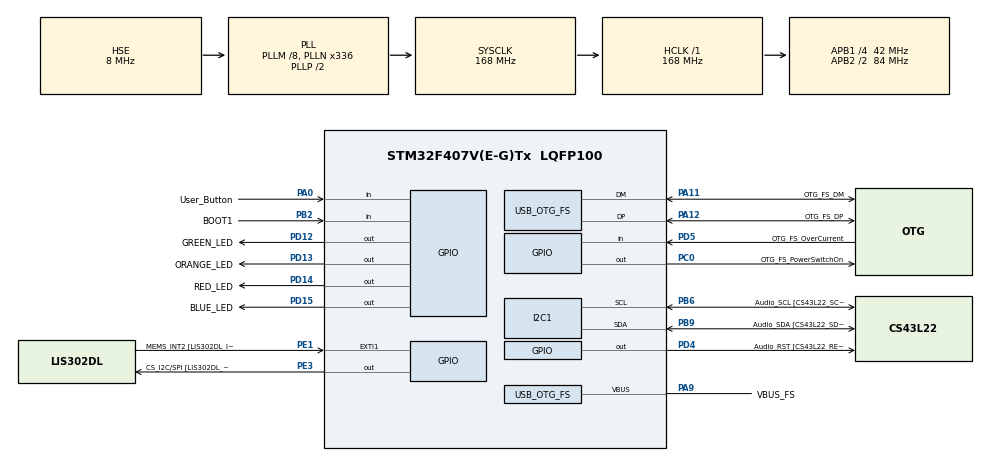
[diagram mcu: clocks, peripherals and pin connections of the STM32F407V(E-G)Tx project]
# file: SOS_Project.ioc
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Mcu.Family=STM32F4
Mcu.Name=STM32F407V(E-G)Tx
Mcu.Package=LQFP100
NVIC.OTG_FS_IRQn=true\:0\:0\:false\:false\:true\:true\:true\:true
NVIC.PriorityGroup=NVIC_PRIORITYGROUP_0
PA0-WKUP.GPIO_Label=User_Button
PA0-WKUP.GPIO_PuPd=GPIO_PULLDOWN
PA0-WKUP.Signal=GPIO_Input
PA10.GPIO_Label=OTG_FS_ID
PA10.GPIO_Mode=GPIO_MODE_AF_PP
PA10.GPIO_PuPd=GPIO_NOPULL
PA10.GPIO_Speed=GPIO_SPEED_FREQ_LOW
PA10.Signal=USB_OTG_FS_ID
PA11.GPIO_Label=OTG_FS_DM
PA11.GPIO_Mode=GPIO_MODE_AF_PP
PA11.GPIO_PuPd=GPIO_NOPULL
PA11.GPIO_Speed=GPIO_SPEED_FREQ_LOW
PA11.Mode=Host_Only
PA11.Signal=USB_OTG_FS_DM
PA12.GPIO_Label=OTG_FS_DP
PA12.GPIO_Mode=GPIO_MODE_AF_PP
PA12.GPIO_PuPd=GPIO_NOPULL
PA12.GPIO_Speed=GPIO_SPEED_FREQ_LOW
PA12.Mode=Host_Only
PA12.Signal=USB_OTG_FS_DP
PA13.GPIO_Label=SWDIO
PA13.Mode=Serial_Wire
PA13.Signal=SYS_JTMS-SWDIO
PA14.GPIO_Label=SWCLK
PA14.Mode=Serial_Wire
PA14.Signal=SYS_JTCK-SWCLK
PA9.GPIO_Label=VBUS_FS
PA9.GPIO_Mode=GPIO_MODE_INPUT
PA9.GPIO_PuPd=GPIO_NOPULL
PA9.Mode=Activate_VBUS
PA9.Signal=USB_OTG_FS_VBUS
PB10.GPIO_Label=CLK_IN [MP45DT02_CLK]
PB10.GPIO_Mode=GPIO_MODE_AF_PP
PB10.GPIO_PuPd=GPIO_NOPULL
PB10.GPIO_Speed=GPIO_SPEED_FREQ_LOW
PB10.Signal=I2S2_CK
PB2.GPIO_Label=BOOT1
PB2.GPIO_Mode=GPIO_MODE_INPUT
PB2.GPIO_PuPd=GPIO_NOPULL
PB2.Signal=GPIO_Input
PB3.GPIO_Label=SWO
PB3.Signal=SYS_JTDO-SWO
PB6.GPIO_Label=Audio_SCL [CS43L22_SCL]
PB6.GPIO_Mode=GPIO_MODE_AF_OD
PB6.GPIO_Pu=GPIO_PULLUP
PB6.GPIO_PuPd=GPIO_NOPULL
PB6.GPIO_Speed=GPIO_SPEED_FREQ_LOW
PB6.Mode=I2C
PB6.Signal=I2C1_SCL
PB9.GPIO_Label=Audio_SDA [CS43L22_SDA]
PB9.GPIO_Mode=GPIO_MODE_AF_OD
PB9.GPIO_Pu=GPIO_PULLUP
PB9.GPIO_PuPd=GPIO_NOPULL
PB9.GPIO_Speed=GPIO_SPEED_FREQ_LOW
PB9.Mode=I2C
PB9.Signal=I2C1_SDA
PC0.GPIO_Label=OTG_FS_PowerSwitchOn
PC0.GPIO_PuPd=GPIO_NOPULL
PC0.GPIO_Speed=GPIO_SPEED_FREQ_LOW
PC0.PinState=GPIO_PIN_SET
PC0.Signal=GPIO_Output
PC10.GPIO_Label=I2S3_SCK [CS43L22_SCLK]
PC10.GPIO_Mode=GPIO_MODE_AF_PP
PC10.GPIO_PuPd=GPIO_NOPULL
PC10.GPIO_Speed=GPIO_SPEED_FREQ_LOW
PC10.Signal=I2S3_CK
PC12.GPIO_Label=I2S3_SD [CS43L22_SDIN]
PC12.GPIO_Mode=GPIO_MODE_AF_PP
PC12.GPIO_PuPd=GPIO_NOPULL
PC12.GPIO_Speed=GPIO_SPEED_FREQ_LOW
PC12.Signal=I2S3_SD
PC14-OSC32_IN.GPIO_Label=PC14-OSC32_IN
PC14-OSC32_IN.Mode=LSE-External-Oscillator
PC14-OSC32_IN.Signal=RCC_OSC32_IN
PC15-OSC32_OUT.GPIO_Label=PC15-OSC32_OUT
PC15-OSC32_OUT.Mode=LSE-External-Oscillator
PC15-OSC32_OUT.Signal=RCC_OSC32_OUT
PC3.GPIO_Label=PDM_OUT [MP45DT02_DOUT]
PC3.GPIO_Mode=GPIO_MODE_AF_PP
PC3.GPIO_PuPd=GPIO_NOPULL
PC3.GPIO_Speed=GPIO_SPEED_FREQ_LOW
PC3.Signal=I2S2_SD
PC7.GPIO_Label=I2S3_MCK [CS43L22_MCLK]
PC7.GPIO_Mode=GPIO_MODE_AF_PP
PC7.GPIO_PuPd=GPIO_NOPULL
PC7.GPIO_Speed=GPIO_SPEED_FREQ_LOW
PC7.Signal=I2S3_MCK
PD12.GPIO_Label=GREEN_LED
PD12.GPIO_PuPd=GPIO_NOPULL
PD12.GPIO_Speed=GPIO_SPEED_FREQ_LOW
PD12.Signal=GPIO_Output
PD13.GPIO_Label=ORANGE_LED
PD13.GPIO_PuPd=GPIO_NOPULL
PD13.GPIO_Speed=GPIO_SPEED_FREQ_LOW
PD13.Signal=GPIO_Output
PD14.GPIO_Label=RED_LED
PD14.GPIO_PuPd=GPIO_NOPULL
PD14.GPIO_Speed=GPIO_SPEED_FREQ_LOW
PD14.Signal=GPIO_Output
PD15.GPIO_Label=BLUE_LED
PD15.GPIO_PuPd=GPIO_NOPULL
PD15.GPIO_Speed=GPIO_SPEED_FREQ_LOW
PD15.Signal=GPIO_Output
PD4.GPIO_Label=Audio_RST [CS43L22_RESET]
PD4.GPIO_PuPd=GPIO_NOPULL
PD4.GPIO_Speed=GPIO_SPEED_FREQ_LOW
PD4.Signal=GPIO_Output
PD5.GPIO_Label=OTG_FS_OverCurrent
PD5.GPIO_Mode=GPIO_MODE_INPUT
PD5.GPIO_PuPd=GPIO_NOPULL
PD5.Signal=GPIO_Input
PE1.GPIO_Label=MEMS_INT2 [LIS302DL_INT2]
PE1.GPIO_ModeDefaultEXTI=GPIO_MODE_EVT_RISING
PE1.GPIO_PuPd=GPIO_NOPULL
PE1.Signal=GPXTI1
PE3.GPIO_Label=CS_I2C/SPI [LIS302DL_CS_I2C/SPI]
PE3.GPIO_PuPd=GPIO_NOPULL
PE3.GPIO_Speed=GPIO_SPEED_FREQ_LOW
PE3.Signal=GPIO_Output
PH0-OSC_IN.GPIO_Label=PH0-OSC_IN
PH0-OSC_IN.Mode=HSE-External-Oscillator
PH0-OSC_IN.Signal=RCC_OSC_IN
PH1-OSC_OUT.GPIO_Label=PH1-OSC_OUT
PH1-OSC_OUT.Mode=HSE-External-Oscillator
PH1-OSC_OUT.Signal=RCC_OSC_OUT
ProjectManager.HeapSize=0x200
ProjectManager.StackSize=0x400
ProjectManager.TargetToolchain=STM32CubeIDE
RCC.48MHZClocksFreq_Value=48000000
RCC.AHBFreq_Value=168000000
RCC.APB1CLKDivider=RCC_HCLK_DIV4
RCC.APB1Freq_Value=42000000
RCC.APB1TimFreq_Value=84000000
RCC.APB2CLKDivider=RCC_HCLK_DIV2
RCC.APB2Freq_Value=84000000
RCC.APB2TimFreq_Value=168000000
RCC.CortexFreq_Value=168000000
RCC.HCLKFreq_Value=168000000
RCC.HSE_VALUE=8000000
RCC.HSI_VALUE=16000000
RCC.PLLM=8
RCC.PLLN=336
RCC.PLLQ=7
RCC.SYSCLKFreq_VALUE=168000000
RCC.SYSCLKSource=RCC_SYSCLKSOURCE_PLLCLK
RCC.VCOOutputFreq_Value=336000000
USB_HOST.BSP.number=1
USB_HOST.USBH_HandleTypeDef-CDC_FS=hUsbHostFS
USB_HOST.VirtualModeFS=Cdc
USB_HOST0.BSP.STBoard=false
USB_HOST0.BSP.api=Unknown
USB_HOST0.BSP.instance=PC0
USB_HOST0.BSP.ip=GPIO
USB_HOST0.BSP.mode=Output
USB_HOST0.BSP.name=Drive_VBUS_FS
USB_HOST0.BSP.solution=PC0
USB_OTG_FS.VirtualMode=Host_Only
USB_OTG_FS.phy_itface=HCD_PHY_EMBEDDED
VP_USB_HOST_VS_USB_HOST_CDC_FS.Mode=CDC_FS
board=STM32F407G-DISC1

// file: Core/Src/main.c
/* USER CODE BEGIN Header */
/**
  ******************************************************************************
  * @author			: Batuhan ARSLAN
  * @file           : main.c
  * @brief          : Basic blink application.
  ******************************************************************************
  * @attention
  *
  * Copyright (c) 2022 STMicroelectronics.
  * All rights reserved.
  *
  * This software is licensed under terms that can be found in the LICENSE file
  * in the root directory of this software component.
  * If no LICENSE file comes with this software, it is provided AS-IS.
  *
  ******************************************************************************
  */
/* USER CODE END Header */
#include "main.h"
#include "usb_host.h"

/* USER CODE BEGIN PD */
#define LONG 600
#define SHORT 300
#define DELAY 400
/* USER CODE END PD */

I2C_HandleTypeDef hi2c1;

void SystemClock_Config(void);
static void MX_GPIO_Init(void);
static void MX_I2C1_Init(void);
void MX_USB_HOST_Process(void);
void NEXT_LETTER(void);
void RETURN_BEGINNING(void);

int main(void)
{

  /* MCU Configuration--------------------------------------------------------*/

  /* Reset of all peripherals, Initializes the Flash interface and the Systick. */
  HAL_Init();

  /* Configure the system clock */
  SystemClock_Config();

  /* Initialize all configured peripherals */
  MX_GPIO_Init();
  MX_I2C1_Init();
  MX_USB_HOST_Init();

  /* Infinite loop */
  while (1)
  {
    MX_USB_HOST_Process();

    /* USER CODE BEGIN 3 */

    RETURN_BEGINNING();

	// Letter : B
	HAL_GPIO_WritePin(GREEN_LED_GPIO_Port, GREEN_LED_Pin, GPIO_PIN_SET);
	HAL_Delay(LONG);
	HAL_GPIO_WritePin(GREEN_LED_GPIO_Port, GREEN_LED_Pin, GPIO_PIN_RESET);
	HAL_Delay(DELAY);
	HAL_GPIO_WritePin(GREEN_LED_GPIO_Port, GREEN_LED_Pin, GPIO_PIN_SET);
	HAL_Delay(SHORT);
	HAL_GPIO_WritePin(GREEN_LED_GPIO_Port, GREEN_LED_Pin, GPIO_PIN_RESET);
	HAL_Delay(DELAY);
	HAL_GPIO_WritePin(GREEN_LED_GPIO_Port, GREEN_LED_Pin, GPIO_PIN_SET);
	HAL_Delay(SHORT);
	HAL_GPIO_WritePin(GREEN_LED_GPIO_Port, GREEN_LED_Pin, GPIO_PIN_RESET);
	HAL_Delay(DELAY);
	HAL_GPIO_WritePin(GREEN_LED_GPIO_Port, GREEN_LED_Pin, GPIO_PIN_SET);
	HAL_Delay(SHORT);
	HAL_GPIO_WritePin(GREEN_LED_GPIO_Port, GREEN_LED_Pin, GPIO_PIN_RESET);
	HAL_Delay(DELAY);

	NEXT_LETTER();

	// Letter : A
	HAL_GPIO_WritePin(GREEN_LED_GPIO_Port, GREEN_LED_Pin, GPIO_PIN_SET);
	HAL_Delay(SHORT);
	HAL_GPIO_WritePin(GREEN_LED_GPIO_Port, GREEN_LED_Pin, GPIO_PIN_RESET);
	HAL_Delay(DELAY);
	HAL_GPIO_WritePin(GREEN_LED_GPIO_Port, GREEN_LED_Pin, GPIO_PIN_SET);
	HAL_Delay(LONG);
	HAL_GPIO_WritePin(GREEN_LED_GPIO_Port, GREEN_LED_Pin, GPIO_PIN_RESET);
	HAL_Delay(DELAY);

	NEXT_LETTER();

	// Letter : T
	HAL_GPIO_WritePin(GREEN_LED_GPIO_Port, GREEN_LED_Pin, GPIO_PIN_SET);
	HAL_Delay(LONG);
	HAL_GPIO_WritePin(GREEN_LED_GPIO_Port, GREEN_LED_Pin, GPIO_PIN_RESET);
	HAL_Delay(DELAY);

	NEXT_LETTER();

	// Letter : U
	HAL_GPIO_WritePin(GREEN_LED_GPIO_Port, GREEN_LED_Pin, GPIO_PIN_SET);
	HAL_Delay(SHORT);
	HAL_GPIO_WritePin(GREEN_LED_GPIO_Port, GREEN_LED_Pin, GPIO_PIN_RESET);
	HAL_Delay(DELAY);
	HAL_GPIO_WritePin(GREEN_LED_GPIO_Port, GREEN_LED_Pin, GPIO_PIN_SET);
	HAL_Delay(SHORT);
	HAL_GPIO_WritePin(GREEN_LED_GPIO_Port, GREEN_LED_Pin, GPIO_PIN_RESET);
	HAL_Delay(DELAY);
	HAL_GPIO_WritePin(GREEN_LED_GPIO_Port, GREEN_LED_Pin, GPIO_PIN_SET);
	HAL_Delay(LONG);
	HAL_GPIO_WritePin(GREEN_LED_GPIO_Port, GREEN_LED_Pin, GPIO_PIN_RESET);
	HAL_Delay(DELAY);

	NEXT_LETTER();

	// Letter : H
	HAL_GPIO_WritePin(GREEN_LED_GPIO_Port, GREEN_LED_Pin, GPIO_PIN_SET);
	HAL_Delay(SHORT);
	HAL_GPIO_WritePin(GREEN_LED_GPIO_Port, GREEN_LED_Pin, GPIO_PIN_RESET);
	HAL_Delay(DELAY);
	HAL_GPIO_WritePin(GREEN_LED_GPIO_Port, GREEN_LED_Pin, GPIO_PIN_SET);
	HAL_Delay(SHORT);
	HAL_GPIO_WritePin(GREEN_LED_GPIO_Port, GREEN_LED_Pin, GPIO_PIN_RESET);
	HAL_Delay(DELAY);
	HAL_GPIO_WritePin(GREEN_LED_GPIO_Port, GREEN_LED_Pin, GPIO_PIN_SET);
	HAL_Delay(SHORT);
	HAL_GPIO_WritePin(GREEN_LED_GPIO_Port, GREEN_LED_Pin, GPIO_PIN_RESET);
	HAL_Delay(DELAY);
	HAL_GPIO_WritePin(GREEN_LED_GPIO_Port, GREEN_LED_Pin, GPIO_PIN_SET);
	HAL_Delay(SHORT);
	HAL_GPIO_WritePin(GREEN_LED_GPIO_Port, GREEN_LED_Pin, GPIO_PIN_RESET);
	HAL_Delay(DELAY);

	NEXT_LETTER();

	// Letter : A
	HAL_GPIO_WritePin(GREEN_LED_GPIO_Port, GREEN_LED_Pin, GPIO_PIN_SET);
	HAL_Delay(SHORT);
	HAL_GPIO_WritePin(GREEN_LED_GPIO_Port, GREEN_LED_Pin, GPIO_PIN_RESET);
	HAL_Delay(DELAY);
	HAL_GPIO_WritePin(GREEN_LED_GPIO_Port, GREEN_LED_Pin, GPIO_PIN_SET);
	HAL_Delay(LONG);
	HAL_GPIO_WritePin(GREEN_LED_GPIO_Port, GREEN_LED_Pin, GPIO_PIN_RESET);
	HAL_Delay(DELAY);

	NEXT_LETTER();

	// Letter : N
	HAL_GPIO_WritePin(GREEN_LED_GPIO_Port, GREEN_LED_Pin, GPIO_PIN_SET);
	HAL_Delay(LONG);
	HAL_GPIO_WritePin(GREEN_LED_GPIO_Port, GREEN_LED_Pin, GPIO_PIN_RESET);
	HAL_Delay(DELAY);
	HAL_GPIO_WritePin(GREEN_LED_GPIO_Port, GREEN_LED_Pin, GPIO_PIN_SET);
	HAL_Delay(SHORT);
	HAL_GPIO_WritePin(GREEN_LED_GPIO_Port, GREEN_LED_Pin, GPIO_PIN_RESET);
	HAL_Delay(DELAY);

	NEXT_LETTER();

  }
  /* USER CODE END 3 */
}

void SystemClock_Config(void)
{
  RCC_OscInitTypeDef RCC_OscInitStruct = {0};
  RCC_ClkInitTypeDef RCC_ClkInitStruct = {0};

  /** Configure the main internal regulator output voltage
  */
  __HAL_RCC_PWR_CLK_ENABLE();
  __HAL_PWR_VOLTAGESCALING_CONFIG(PWR_REGULATOR_VOLTAGE_SCALE1);

  /** Initializes the RCC Oscillators according to the specified parameters
  * in the RCC_OscInitTypeDef structure.
  */
  RCC_OscInitStruct.OscillatorType = RCC_OSCILLATORTYPE_HSE;
  RCC_OscInitStruct.HSEState = RCC_HSE_ON;
  RCC_OscInitStruct.PLL.PLLState = RCC_PLL_ON;
  RCC_OscInitStruct.PLL.PLLSource = RCC_PLLSOURCE_HSE;
  RCC_OscInitStruct.PLL.PLLM = 8;
  RCC_OscInitStruct.PLL.PLLN = 336;
  RCC_OscInitStruct.PLL.PLLP = RCC_PLLP_DIV2;
  RCC_OscInitStruct.PLL.PLLQ = 7;
  if (HAL_RCC_OscConfig(&RCC_OscInitStruct) != HAL_OK)
  {
    Error_Handler();
  }

  /** Initializes the CPU, AHB and APB buses clocks
  */
  RCC_ClkInitStruct.ClockType = RCC_CLOCKTYPE_HCLK|RCC_CLOCKTYPE_SYSCLK
                              |RCC_CLOCKTYPE_PCLK1|RCC_CLOCKTYPE_PCLK2;
  RCC_ClkInitStruct.SYSCLKSource = RCC_SYSCLKSOURCE_PLLCLK;
  RCC_ClkInitStruct.AHBCLKDivider = RCC_SYSCLK_DIV1;
  RCC_ClkInitStruct.APB1CLKDivider = RCC_HCLK_DIV4;
  RCC_ClkInitStruct.APB2CLKDivider = RCC_HCLK_DIV2;

  if (HAL_RCC_ClockConfig(&RCC_ClkInitStruct, FLASH_LATENCY_5) != HAL_OK)
  {
    Error_Handler();
  }
}

static void MX_I2C1_Init(void)
{

  hi2c1.Instance = I2C1;
  hi2c1.Init.ClockSpeed = 100000;
  hi2c1.Init.DutyCycle = I2C_DUTYCYCLE_2;
  hi2c1.Init.OwnAddress1 = 0;
  hi2c1.Init.AddressingMode = I2C_ADDRESSINGMODE_7BIT;
  hi2c1.Init.DualAddressMode = I2C_DUALADDRESS_DISABLE;
  hi2c1.Init.OwnAddress2 = 0;
  hi2c1.Init.GeneralCallMode = I2C_GENERALCALL_DISABLE;
  hi2c1.Init.NoStretchMode = I2C_NOSTRETCH_DISABLE;
  if (HAL_I2C_Init(&hi2c1) != HAL_OK)
  {
    Error_Handler();
  }

}

static void MX_GPIO_Init(void)
{
  GPIO_InitTypeDef GPIO_InitStruct = {0};

  /* GPIO Ports Clock Enable */
  __HAL_RCC_GPIOE_CLK_ENABLE();
  __HAL_RCC_GPIOC_CLK_ENABLE();
  __HAL_RCC_GPIOH_CLK_ENABLE();
  __HAL_RCC_GPIOA_CLK_ENABLE();
  __HAL_RCC_GPIOB_CLK_ENABLE();
  __HAL_RCC_GPIOD_CLK_ENABLE();

  /*Configure GPIO pin Output Level */
  HAL_GPIO_WritePin(CS_I2C_SPI_GPIO_Port, CS_I2C_SPI_Pin, GPIO_PIN_RESET);

  /*Configure GPIO pin Output Level */
  HAL_GPIO_WritePin(OTG_FS_PowerSwitchOn_GPIO_Port, OTG_FS_PowerSwitchOn_Pin, GPIO_PIN_SET);

  /*Configure GPIO pin Output Level */
  HAL_GPIO_WritePin(GPIOD, GREEN_LED_Pin|ORANGE_LED_Pin|RED_LED_Pin|BLUE_LED_Pin
                          |Audio_RST_Pin, GPIO_PIN_RESET);

  /*Configure GPIO pin : CS_I2C_SPI_Pin */
  GPIO_InitStruct.Pin = CS_I2C_SPI_Pin;
  GPIO_InitStruct.Mode = GPIO_MODE_OUTPUT_PP;
  GPIO_InitStruct.Pull = GPIO_NOPULL;
  GPIO_InitStruct.Speed = GPIO_SPEED_FREQ_LOW;
  HAL_GPIO_Init(CS_I2C_SPI_GPIO_Port, &GPIO_InitStruct);

  /*Configure GPIO pin : OTG_FS_PowerSwitchOn_Pin */
  GPIO_InitStruct.Pin = OTG_FS_PowerSwitchOn_Pin;
  GPIO_InitStruct.Mode = GPIO_MODE_OUTPUT_PP;
  GPIO_InitStruct.Pull = GPIO_NOPULL;
  GPIO_InitStruct.Speed = GPIO_SPEED_FREQ_LOW;
  HAL_GPIO_Init(OTG_FS_PowerSwitchOn_GPIO_Port, &GPIO_InitStruct);

  /*Configure GPIO pin : PDM_OUT_Pin */
  GPIO_InitStruct.Pin = PDM_OUT_Pin;
  GPIO_InitStruct.Mode = GPIO_MODE_AF_PP;
  GPIO_InitStruct.Pull = GPIO_NOPULL;
  GPIO_InitStruct.Speed = GPIO_SPEED_FREQ_LOW;
  GPIO_InitStruct.Alternate = GPIO_AF5_SPI2;
  HAL_GPIO_Init(PDM_OUT_GPIO_Port, &GPIO_InitStruct);

  /*Configure GPIO pin : User_Button_Pin */
  GPIO_InitStruct.Pin = User_Button_Pin;
  GPIO_InitStruct.Mode = GPIO_MODE_INPUT;
  GPIO_InitStruct.Pull = GPIO_PULLDOWN;
  HAL_GPIO_Init(User_Button_GPIO_Port, &GPIO_InitStruct);

  /*Configure GPIO pin : BOOT1_Pin */
  GPIO_InitStruct.Pin = BOOT1_Pin;
  GPIO_InitStruct.Mode = GPIO_MODE_INPUT;
  GPIO_InitStruct.Pull = GPIO_NOPULL;
  HAL_GPIO_Init(BOOT1_GPIO_Port, &GPIO_InitStruct);

  /*Configure GPIO pin : CLK_IN_Pin */
  GPIO_InitStruct.Pin = CLK_IN_Pin;
  GPIO_InitStruct.Mode = GPIO_MODE_AF_PP;
  GPIO_InitStruct.Pull = GPIO_NOPULL;
  GPIO_InitStruct.Speed = GPIO_SPEED_FREQ_LOW;
  GPIO_InitStruct.Alternate = GPIO_AF5_SPI2;
  HAL_GPIO_Init(CLK_IN_GPIO_Port, &GPIO_InitStruct);

  /*Configure GPIO pins : GREEN_LED_Pin ORANGE_LED_Pin RED_LED_Pin BLUE_LED_Pin
                           Audio_RST_Pin */
  GPIO_InitStruct.Pin = GREEN_LED_Pin|ORANGE_LED_Pin|RED_LED_Pin|BLUE_LED_Pin
                          |Audio_RST_Pin;
  GPIO_InitStruct.Mode = GPIO_MODE_OUTPUT_PP;
  GPIO_InitStruct.Pull = GPIO_NOPULL;
  GPIO_InitStruct.Speed = GPIO_SPEED_FREQ_LOW;
  HAL_GPIO_Init(GPIOD, &GPIO_InitStruct);

  /*Configure GPIO pins : I2S3_MCK_Pin I2S3_SCK_Pin I2S3_SD_Pin */
  GPIO_InitStruct.Pin = I2S3_MCK_Pin|I2S3_SCK_Pin|I2S3_SD_Pin;
  GPIO_InitStruct.Mode = GPIO_MODE_AF_PP;
  GPIO_InitStruct.Pull = GPIO_NOPULL;
  GPIO_InitStruct.Speed = GPIO_SPEED_FREQ_LOW;
  GPIO_InitStruct.Alternate = GPIO_AF6_SPI3;
  HAL_GPIO_Init(GPIOC, &GPIO_InitStruct);

  /*Configure GPIO pin : OTG_FS_OverCurrent_Pin */
  GPIO_InitStruct.Pin = OTG_FS_OverCurrent_Pin;
  GPIO_InitStruct.Mode = GPIO_MODE_INPUT;
  GPIO_InitStruct.Pull = GPIO_NOPULL;
  HAL_GPIO_Init(OTG_FS_OverCurrent_GPIO_Port, &GPIO_InitStruct);

  /*Configure GPIO pin : MEMS_INT2_Pin */
  GPIO_InitStruct.Pin = MEMS_INT2_Pin;
  GPIO_InitStruct.Mode = GPIO_MODE_EVT_RISING;
  GPIO_InitStruct.Pull = GPIO_NOPULL;
  HAL_GPIO_Init(MEMS_INT2_GPIO_Port, &GPIO_InitStruct);

}

/* USER CODE BEGIN 4 */

/**
  * @brief  This function is executed in case of error occurrence.
  * @retval None
  */
void NEXT_LETTER(void){

	HAL_GPIO_WritePin(ORANGE_LED_GPIO_Port, ORANGE_LED_Pin, GPIO_PIN_SET);
	HAL_Delay(DELAY);
	HAL_GPIO_WritePin(ORANGE_LED_GPIO_Port, ORANGE_LED_Pin, GPIO_PIN_RESET);
	HAL_Delay(DELAY);

}

/**
  * @brief  When this function called it gives blue led on for a 1 second.
  * @retval None
  */
void RETURN_BEGINNING(void){
	HAL_GPIO_WritePin(BLUE_LED_GPIO_Port, BLUE_LED_Pin, GPIO_PIN_SET);
	HAL_Delay(1000);
	HAL_GPIO_WritePin(BLUE_LED_GPIO_Port, BLUE_LED_Pin, GPIO_PIN_RESET);
	HAL_Delay(1000);
}

/* USER CODE END 4 */

void Error_Handler(void)
{
  __disable_irq();
  while (1)
  {
  }
}
